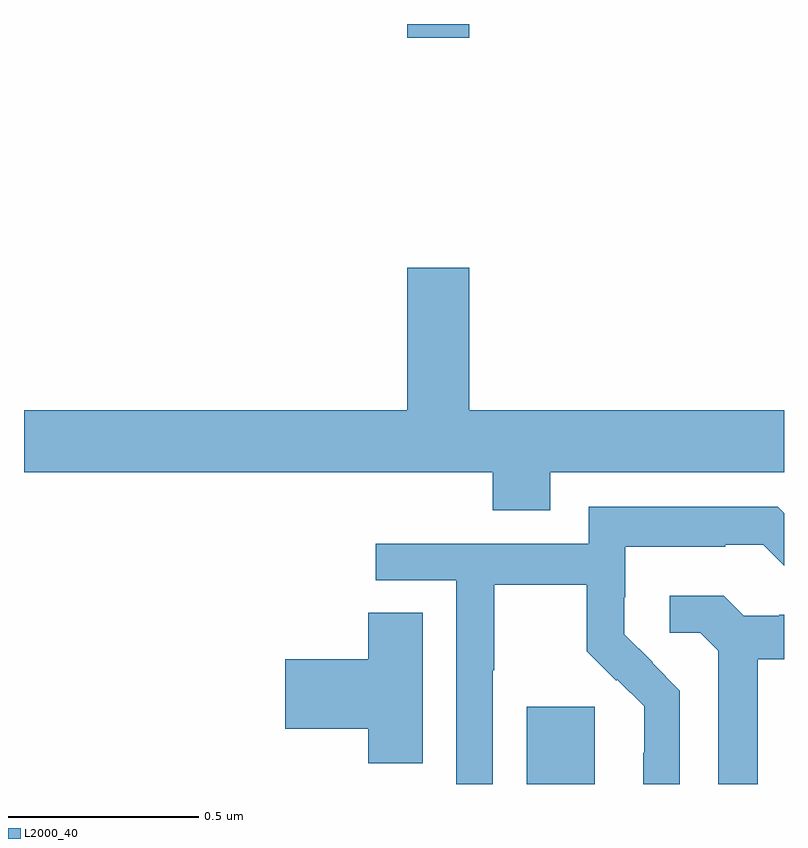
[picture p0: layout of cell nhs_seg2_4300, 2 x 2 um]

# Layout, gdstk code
import gdstk
lib = gdstk.Library(unit=1e-6, precision=1e-09)
def R(c, l, rs):  # rectangles x0, y0, x1, y1
    for r in rs: c.add(gdstk.rectangle(r[:2], r[2:], *l))
def P(c, l, *ps):  # polygons
    for p in ps: c.add(gdstk.Polygon(p, *l))
L2000_40 = (2000, 40)

nhs_seg2_4300 = lib.new_cell('nhs_seg2_4300')
R(nhs_seg2_4300, L2000_40, [(165.323,662.8,165.502,663.003), (165.008,664.764,165.172,664.8)])
P(nhs_seg2_4300, L2000_40, [(165.385,663.62),(166,663.62),(166,663.784),(165.172,663.784),(165.172,664.159),(165.008,664.159),(165.008,663.784),(164,663.784),(164,663.62),(165.233,663.62),(165.233,663.521),(165.385,663.521)],
  [(165.234,663.1),(165.237,663.1),(165.237,663.324),(165.481,663.324),(165.481,663.149),(165.558,663.072),(165.561,663.075),(165.632,663.005),(165.632,662.882),(165.63,662.882),(165.63,662.8),(165.726,662.8),(165.726,663.046),(165.653,663.119),(165.654,663.12),(165.58,663.194),(165.58,663.291),(165.582,663.291),(165.582,663.425),(165.845,663.425),(165.845,663.429),(165.945,663.429),(166,663.374),(166,663.512),(165.983,663.529),(165.486,663.529),(165.486,663.432),(164.925,663.432),(164.925,663.336),(165.138,663.336),(165.138,662.8),(165.234,662.8)],
  [(165.931,663.128),(166,663.128),(166,663.246),(165.988,663.246),(165.988,663.243),(165.894,663.243),(165.842,663.295),(165.699,663.295),(165.699,663.198),(165.78,663.198),(165.827,663.151),(165.827,662.8),(165.931,662.8)],
  [(165.049,663.251),(164.906,663.251),(164.906,663.128),(164.688,663.128),(164.688,662.945),(164.906,662.945),(164.906,662.854),(165.049,662.854)])

lib.write_gds('nhs_seg2_4300.gds')
